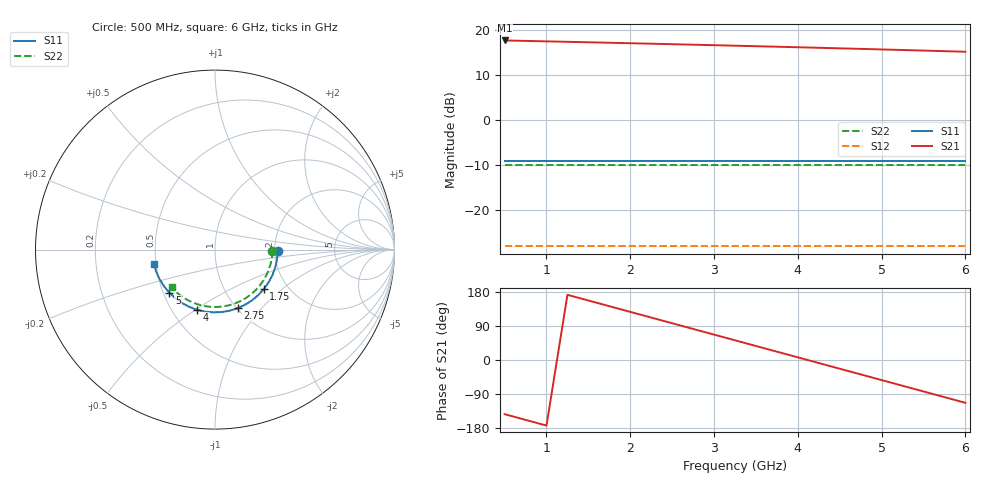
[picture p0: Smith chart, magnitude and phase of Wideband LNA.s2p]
! Illustrative: an LNA module, its ports reflecting about -9 and -10 dB, with noise data
# GHz S MA R 50
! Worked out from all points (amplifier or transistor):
!   23 points, 500 MHz to 6 GHz, reference 50 ohm
!   highest |S21| = 17.7 dB at 500 MHz (marker M1)
!   |S21| within 3 dB of that: start of sweep to end of sweep
!   unconditionally stable (mu >= 1): start of sweep to end of sweep
!   at 1.25 GHz: K = 1.48, MAG = 18.6 dB, |S12| = -28.0 dB
!   at 3.25 GHz: K = 1.69, MAG = 17.4 dB, |S12| = -28.0 dB
!   at 6 GHz: K = 1.92, MAG = 16.1 dB, |S12| = -28.0 dB
!   lowest NFmin = 0.51 dB at 500 MHz
!   S11 on the Smith chart (normalised r, x): 500 MHz: 2.08, -0.04; 1.75 GHz: 1.52, -0.76; 2.75 GHz: 1.01, -0.75; 4 GHz: 0.66, -0.51; 5 GHz: 0.54, -0.30; 6 GHz: 0.49, -0.09
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0.5  0.35 -1.5  7.683 -143.0  0.04 69.0  0.32 -1.2
0.75  0.35 -9.0  7.595 -158.0  0.04 64.0  0.32 -7.5
1  0.35 -16.5  7.508 -173.0  0.04 59.0  0.32 -13.8
1.25  0.35 -24.0  7.42 172.0  0.04 54.0  0.32 -20.0
1.5  0.35 -31.5  7.332 157.0  0.04 49.0  0.32 -26.2
1.75  0.35 -39.0  7.245 142.0  0.04 44.0  0.32 -32.5
2  0.35 -46.5  7.157 127.0  0.04 39.0  0.32 -38.8
2.25  0.35 -54.0  7.07 112.0  0.04 34.0  0.32 -45.0
2.5  0.35 -61.5  6.982 97.0  0.04 29.0  0.32 -51.2
2.75  0.35 -69.0  6.895 82.0  0.04 24.0  0.32 -57.5
3  0.35 -76.5  6.808 67.0  0.04 19.0  0.32 -63.8
3.25  0.35 -84.0  6.72 52.0  0.04 14.0  0.32 -70.0
3.5  0.35 -91.5  6.633 37.0  0.04 9.0  0.32 -76.2
3.75  0.35 -99.0  6.545 22.0  0.04 4.0  0.32 -82.5
4  0.35 -106.5  6.457 7.0  0.04 -1.0  0.32 -88.8
4.25  0.35 -114.0  6.37 -8.0  0.04 -6.0  0.32 -95.0
4.5  0.35 -121.5  6.282 -23.0  0.04 -11.0  0.32 -101.2
5  0.35 -136.5  6.107 -53.0  0.04 -21.0  0.32 -113.8
5.25  0.35 -144.0  6.02 -68.0  0.04 -26.0  0.32 -120.0
5.5  0.35 -151.5  5.933 -83.0  0.04 -31.0  0.32 -126.2
5.75  0.35 -159.0  5.845 -98.0  0.04 -36.0  0.32 -132.5
6  0.35 -166.5  5.758 -113.0  0.04 -41.0  0.32 -138.8
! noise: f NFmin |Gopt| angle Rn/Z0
0.5  0.505  0.3  10.75  0.18
1  0.555  0.3  18.25  0.18
1.5  0.605  0.3  25.75  0.18
2.25  0.68  0.3  37  0.18
2.75  0.73  0.3  44.5  0.18
3.5  0.805  0.3  55.75  0.18
4  0.855  0.3  63.25  0.18
4.75  0.93  0.3  74.5  0.18
5.25  0.98  0.3  82  0.18
6  1.055  0.3  93.25  0.18
